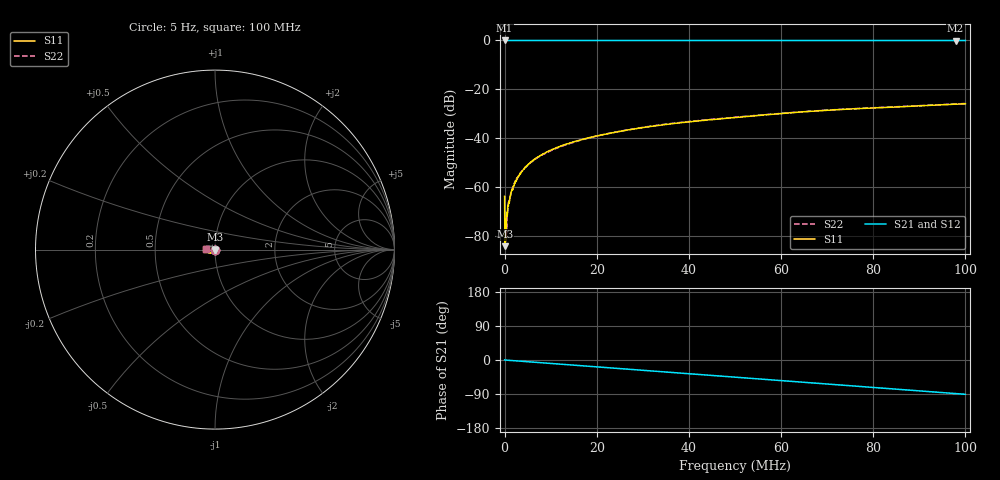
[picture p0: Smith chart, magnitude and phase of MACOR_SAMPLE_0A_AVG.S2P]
!Agilent Technologies,E5061B,MY49102235,A.02.00
!Date: Mon Jul 10 12:05:29 2023
!Data & Calibration Information:
!Freq	S11:SOLT2(ON)	S21:SOLT2(ON)	S12:SOLT2(ON)	S22:SOLT2(ON)
# Hz S RI R 50
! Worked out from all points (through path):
!   1600 points, 5 Hz to 100 MHz, reference 50 ohm
!   highest |S21| = 0.01 dB at 5 Hz (marker M1); lowest = 0.0 dB at 97.87 MHz (marker M2)
!   group delay of S21, straight-line fit = 2.52 ns
!   lowest |S11| = -84.1 dB at 62.54 kHz (marker M3), VSWR 1.00, Z = 50 - j0.000653 ohm
!   |S11| at or under -10 dB: start of sweep to end of sweep
!   |S22| runs from -81.7 to -25.8 dB; largest |S21 - S12| = 0.0026
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5  -0.000473 0.000449  1.002 0.00232  1 -2.28e-05  -0.000121 -5.82e-05
62544.08  -6.2e-05 -6.53e-06  1 -0.000816  1 -0.000665  9.45e-06 -9.13e-05
250161.3  2.23e-05 -7.59e-05  0.9998 -0.0041  0.9998 -0.00398  1.45e-05 -8.66e-05
562856.8  9.06e-05 -0.00024  0.9998 -0.00911  0.9996 -0.00864  5.36e-05 -0.000296
813013.1  -1.4e-05 -0.000408  1 -0.013  0.9992 -0.0126  -2.66e-05 -0.000459
938091.3  -0.000103 -0.00049  0.9996 -0.0148  0.9995 -0.0143  -8e-05 -0.000505
1063169  -1.1e-05 -0.000522  1 -0.0167  1 -0.017  1.95e-05 -0.000609
1500943  -8.26e-06 -0.000829  1 -0.024  0.9991 -0.0238  -2.91e-05 -0.000813
1938717  -2.69e-05 -0.00106  0.9994 -0.031  0.9998 -0.0307  7.77e-06 -0.00106
2626647  -4.51e-05 -0.00144  0.9989 -0.0416  0.9993 -0.0411  -8.22e-06 -0.00145
4002506  -2.84e-05 -0.00226  0.998 -0.0634  0.9978 -0.0631  -9.67e-05 -0.00223
6128835  -0.000225 -0.00346  0.9953 -0.097  0.9952 -0.0968  -0.000292 -0.00342
8818016  -0.000544 -0.00502  0.9903 -0.139  0.9902 -0.1388  -0.000639 -0.00489
1.282052e7  -0.00132 -0.00716  0.9794 -0.2014  0.9794 -0.2013  -0.0013 -0.00699
1.669794e7  -0.00232 -0.00908  0.9653 -0.2609  0.9652 -0.2608  -0.00222 -0.00901
2.445279e7  -0.00506 -0.0125  0.9263 -0.377  0.9259 -0.377  -0.00493 -0.0127
3.333334e7  -0.00923 -0.0158  0.8642 -0.5029  0.8641 -0.5026  -0.00903 -0.0162
5.003127e7  -0.019 -0.0187  0.7029 -0.7107  0.7029 -0.7106  -0.0193 -0.0189
6.672921e7  -0.0315 -0.0171  0.4931 -0.8692  0.4929 -0.8688  -0.0315 -0.0175
8.33646e7  -0.0419 -0.00978  0.2499 -0.967  0.2499 -0.9667  -0.0422 -0.0104
9.787367e7  -0.0498 0.00108  0.024 -0.9979  0.0241 -0.9978  -0.0502 -9.43e-05
1e8  -0.0509 0.00291  -0.00946 -0.9983  -0.00952 -0.9981  -0.0514 0.00173
